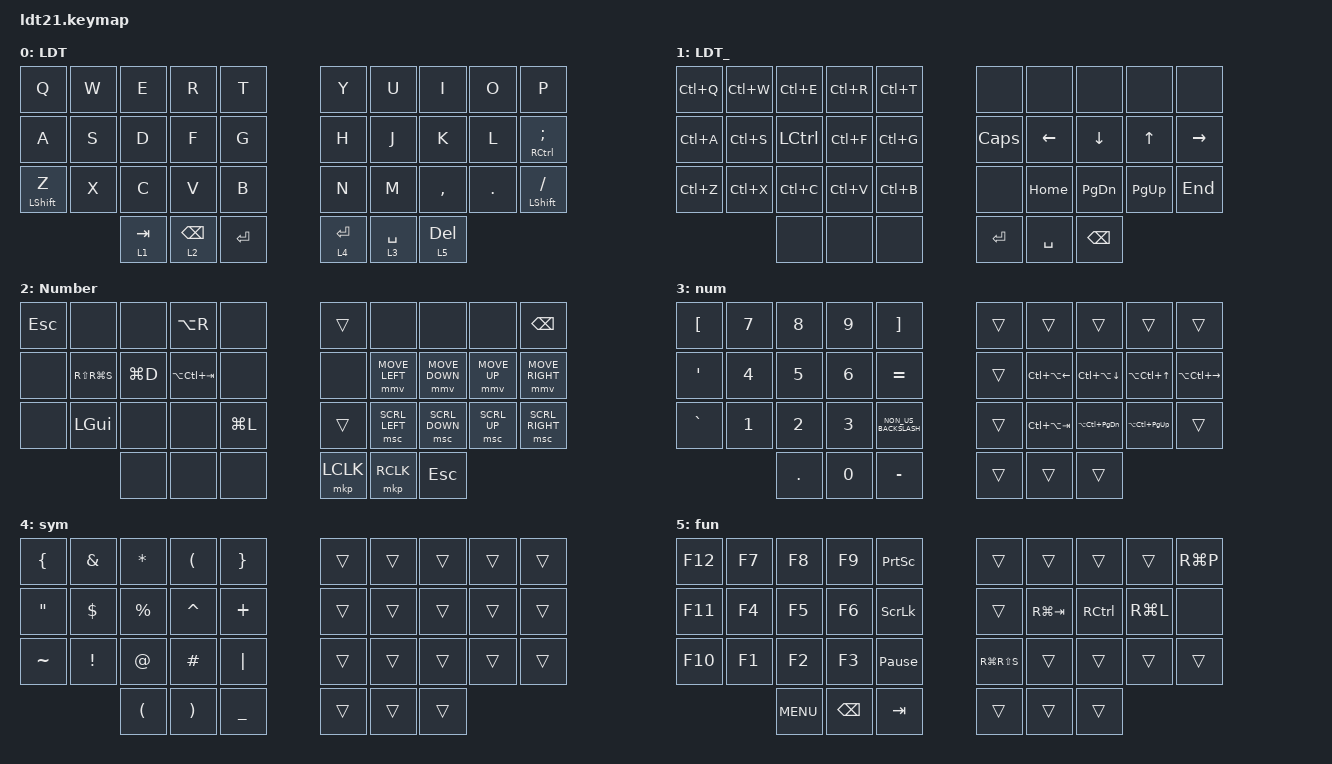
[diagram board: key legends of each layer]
/*
 * Copyright (c) 2020 The ZMK Contributors
 * LDT
 * SPDX-License-Identifier: MIT
 */

#include <behaviors.dtsi>
#include <dt-bindings/zmk/keys.h>
#include <dt-bindings/zmk/pointing.h>

#define DEF 0
#define NAV 1
#define NUM 2

/ {
    combos {
        compatible = "zmk,combos";

        // Thumb combos
        // Brackets - Ngoặc vuông []
        // Braces - Ngoặc nhọn {}
        // Parentheses - Ngoặc tròn ()
        // Special chars
        // Word navigation - Windows (Layer 0)
        // Word navigation - Mac (Layer 1)
        // Arrow keys

        ctrl {
            bindings = <&kp LCTRL>;
            key-positions = <12 13>;
            layers = <0>;
        };

        alt {
            bindings = <&kp LEFT_ALT>;
            key-positions = <12 23>;
            layers = <0>;
        };

        esc {
            bindings = <&kp ESC>;
            key-positions = <0 1>;
            layers = <0>;
        };
    };

    keymap {
        compatible = "zmk,keymap";

        ldt21_layer {
            bindings = <
&kp Q             &kp W  &kp E      &kp R            &kp T      &kp Y        &kp U        &kp I         &kp O    &kp P
&kp A             &kp S  &kp D      &kp F            &kp G      &kp H        &kp J        &kp K         &kp L    &mt RCTRL SEMICOLON
&mt LEFT_SHIFT Z  &kp X  &kp C      &kp V            &kp B      &kp N        &kp M        &kp COMMA     &kp DOT  &mt LEFT_SHIFT SLASH
                         &lt 1 TAB  &lt 2 BACKSPACE  &kp ENTER  &lt 4 ENTER  &lt 3 SPACE  &lt 5 DELETE
            >;

            label = "LDT";
        };

        nav {
            label = "LDT_";
            bindings = <
&kp LC(Q)  &kp LC(W)  &kp LC(E)  &kp LC(R)  &kp LC(T)  &none      &none           &none          &none         &none
&kp LC(A)  &kp LC(S)  &kp LCTRL  &kp LC(F)  &kp LC(G)  &kp CAPS   &kp LEFT_ARROW  &kp DOWN       &kp UP_ARROW  &kp RIGHT
&kp LC(Z)  &kp LC(X)  &kp LC(C)  &kp LC(V)  &kp LC(B)  &none      &kp HOME        &kp PG_DN      &kp PAGE_UP   &kp END
                      &none      &none      &none      &kp ENTER  &kp SPACE       &kp BACKSPACE
            >;
        };

        mouse {
            bindings = <
&kp ESC  &none          &none      &kp LA(R)        &none      &trans     &none           &none           &none         &kp BACKSPACE
&none    &kp RS(RG(S))  &kp LG(D)  &kp LA(LC(TAB))  &none      &none      &mmv MOVE_LEFT  &mmv MOVE_DOWN  &mmv MOVE_UP  &mmv MOVE_RIGHT
&none    &kp LEFT_GUI   &none      &none            &kp LG(L)  &trans     &msc SCRL_LEFT  &msc SCRL_DOWN  &msc SCRL_UP  &msc SCRL_RIGHT
                        &none      &none            &none      &mkp LCLK  &mkp RCLK       &kp ESCAPE
            >;

            label = "Number";
        };

        num {
            bindings = <
&kp LEFT_BRACKET  &kp N7  &kp N8      &kp N9        &kp RIGHT_BRACKET     &trans  &trans            &trans             &trans                &trans
&kp SQT           &kp N4  &kp N5      &kp N6        &kp EQUAL             &trans  &kp LC(LA(LEFT))  &kp LC(LA(DOWN))   &kp LA(LC(UP_ARROW))  &kp LA(LC(RIGHT))
&kp GRAVE         &kp N1  &kp N2      &kp N3        &kp NON_US_BACKSLASH  &trans  &kp LC(LA(TAB))   &kp LA(LC(PG_DN))  &kp LA(LC(PAGE_UP))   &trans
                          &kp PERIOD  &kp NUMBER_0  &kp MINUS             &trans  &trans            &trans
            >;
        };

        sym {
            bindings = <
&kp LEFT_BRACE     &kp AMPERSAND    &kp ASTERISK          &kp LEFT_PARENTHESIS   &kp RIGHT_BRACE  &trans  &trans  &trans  &trans  &trans
&kp DOUBLE_QUOTES  &kp DOLLAR       &kp PERCENT           &kp CARET              &kp PLUS         &trans  &trans  &trans  &trans  &trans
&kp TILDE          &kp EXCLAMATION  &kp AT_SIGN           &kp HASH               &kp PIPE         &trans  &trans  &trans  &trans  &trans
                                    &kp LEFT_PARENTHESIS  &kp RIGHT_PARENTHESIS  &kp UNDERSCORE   &trans  &trans  &trans
            >;
        };

        fun {
            bindings = <
&kp F12  &kp F7  &kp F8      &kp F9         &kp PRINTSCREEN  &trans         &trans       &trans     &trans     &kp RG(P)
&kp F11  &kp F4  &kp F5      &kp F6         &kp SCROLLLOCK   &trans         &kp RG(TAB)  &kp RCTRL  &kp RG(L)  &none
&kp F10  &kp F1  &kp F2      &kp F3         &kp PAUSE_BREAK  &kp RG(RS(S))  &trans       &trans     &trans     &trans
                 &kp C_MENU  &kp BACKSPACE  &kp TAB          &trans         &trans       &trans
            >;
        };
    };
};
